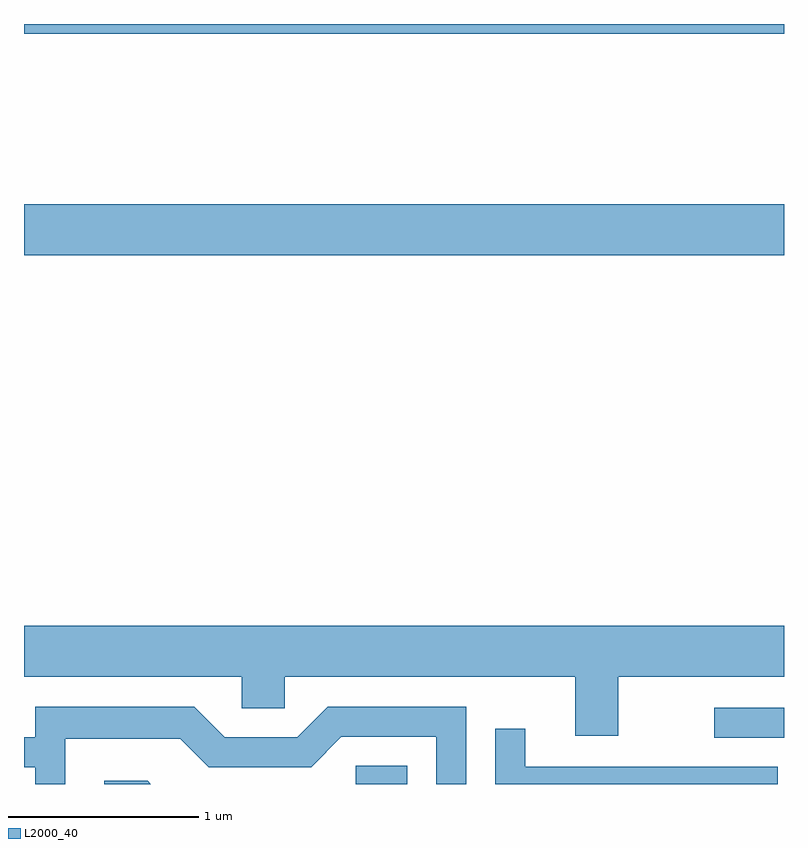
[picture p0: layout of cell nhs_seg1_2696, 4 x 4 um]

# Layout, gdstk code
import gdstk
lib = gdstk.Library(unit=1e-6, precision=1e-09)
def R(c, l, rs):  # rectangles x0, y0, x1, y1
    for r in rs: c.add(gdstk.rectangle(r[:2], r[2:], *l))
def P(c, l, *ps):  # polygons
    for p in ps: c.add(gdstk.Polygon(p, *l))
L2000_40 = (2000, 40)

nhs_seg1_2696 = lib.new_cell('nhs_seg1_2696')
R(nhs_seg1_2696, L2000_40, [(269.358,865.712,269.629,865.809), (271.243,865.956,271.611,866.114), (267.611,868.496,271.611,868.764), (267.611,869.661,271.611,869.712)])
P(nhs_seg1_2696, L2000_40, [(270.739,866.276),(271.611,866.276),(271.611,866.544),(267.611,866.544),(267.611,866.276),(268.756,866.276),(268.756,866.111),(268.984,866.111),(268.984,866.276),(270.511,866.276),(270.511,865.966),(270.739,865.966)],
  [(267.829,865.951),(268.434,865.951),(268.584,865.801),(269.122,865.801),(269.282,865.961),(269.781,865.961),(269.781,865.712),(269.939,865.712),(269.939,866.119),(269.209,866.119),(269.049,865.959),(268.667,865.959),(268.507,866.119),(267.671,866.119),(267.671,865.959),(267.611,865.959),(267.611,865.801),(267.671,865.801),(267.671,865.712),(267.829,865.712)],
  [(271.579,865.804),(270.249,865.804),(270.249,866.003),(270.091,866.003),(270.091,865.712),(271.579,865.712)],
  [(268.262,865.729),(268.033,865.729),(268.033,865.712),(268.279,865.712)])

lib.write_gds('nhs_seg1_2696.gds')
